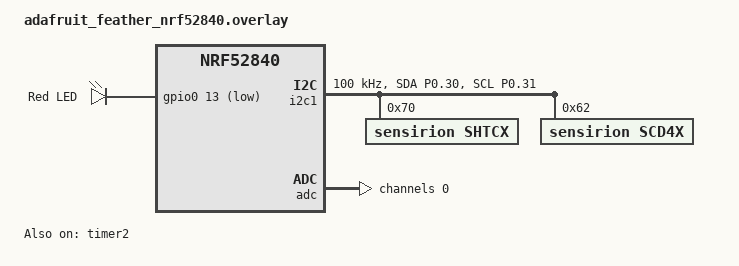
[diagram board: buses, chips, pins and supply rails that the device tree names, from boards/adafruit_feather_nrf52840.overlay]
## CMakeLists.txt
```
#
# Copyright (c) 2020 Nordic Semiconductor ASA
#
# SPDX-License-Identifier: LicenseRef-Nordic-5-Clause
#

cmake_minimum_required(VERSION 3.20.0)

find_package(Zephyr REQUIRED HINTS $ENV{ZEPHYR_BASE})

if(NOT CONFIG_MCUBOOT_IMGTOOL_SIGN_VERSION MATCHES "^([0-9]+)\\.([0-9]+)\\.([0-9]+)$")
  message(FATAL_ERROR "OTA version must be major.minor.patch without a build suffix")
endif()
if(CMAKE_MATCH_1 GREATER 255 OR CMAKE_MATCH_2 GREATER 255 OR CMAKE_MATCH_3 GREATER 255)
  message(FATAL_ERROR "OTA version components must be 0..255 for the Zigbee add-on generator")
endif()
math(EXPR SCHNEGGI_OTA_FILE_VERSION
  "(${CMAKE_MATCH_1} << 24) | (${CMAKE_MATCH_2} << 16) | ${CMAKE_MATCH_3}"
  OUTPUT_FORMAT HEXADECIMAL)

project("Schneggi Sensor")
target_compile_definitions(app PRIVATE SCHNEGGI_OTA_FILE_VERSION=${SCHNEGGI_OTA_FILE_VERSION})

target_sources(app PRIVATE
	src/app_environment.c
	src/app_shtc3.c
	src/app_network.c
	src/app_ota.c
	src/app_ota_storage.c
	src/app_ota_transfer.c
	src/app_reboot.c
	src/app_scheduler.c
	src/app_measurement_logic.c
	src/app_zcl_report.c
	src/co2_zcl_logic.c
	src/main.c
	src/rejoin_logic.c
	src/zigbee_signal_logic.c
	src/zboss_mem_globals.c
	src/zcl/zb_zcl_concentration_measurement.c
)

target_sources_ifdef(CONFIG_ADC app PRIVATE src/app_battery.c)
target_sources_ifdef(CONFIG_SCD4X app PRIVATE src/app_scd4x.c)

target_include_directories(app PRIVATE include)

# Nordic's prebuilt library has plain ELF weak defaults for these configurable
# globals. Resolve Schneggi's strong medium-sized tables outside LTO as well.
if(CONFIG_LTO)
  set_source_files_properties(src/zboss_mem_globals.c PROPERTIES COMPILE_OPTIONS -fno-lto)
endif()
# NORDIC SDK APP END
```

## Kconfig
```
source "Kconfig.zephyr"

config APP_REJOIN_INTERVAL_MAX_SECONDS
  int "Maximum network rejoin retry interval in seconds"
  range 900 3600
  default 900

config SENSOR_UPDATE_INTERVAL_MINUTES
  int "Sensor update interval in minutes"
  range 1 1440
  default 5

config APP_SCD4X_ALTITUDE
  int "SCD40 altitude compensation in metres"
  depends on SCD4X
  range 0 3000
  default 574

config BATTERY_UPDATE_INTERVAL_HOURS
  int "Battery update interval in hours"
  range 1 720
  default 4

config ZIGBEE_LONG_POLL_INTERVAL_MS
  int "Zigbee long poll interval in milliseconds"
  range 30000 600000
  default 120000

config ZIGBEE_KEEPALIVE_TIMEOUT_MS
  int "Zigbee keepalive timeout in milliseconds"
  range 60000 1800000
  default 600000
```

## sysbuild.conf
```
SB_CONFIG_BOOTLOADER_MCUBOOT=y
SB_CONFIG_MCUBOOT_MODE_SWAP_USING_MOVE=y
SB_CONFIG_BOOT_SIGNATURE_TYPE_ECDSA_P256=y
SB_CONFIG_DFU_MULTI_IMAGE_PACKAGE_BUILD=y
SB_CONFIG_DFU_MULTI_IMAGE_PACKAGE_APP=y
# Preserve the deployed OTA layout while migrating the SDK.
SB_CONFIG_PARTITION_MANAGER=y
```

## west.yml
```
manifest:
  remotes:
    - name: ncs
      url-base: https://github.com/nrfconnect
  projects:
    - name: nrf
      repo-path: sdk-nrf
      remote: ncs
      revision: b20f8619ba9a5530f8c34b0a130d829947cfe55d # v3.4.1
      import: true
    - name: ncs-zigbee
      remote: ncs
      revision: bc7863e99cbbe121d8755bc49586e977cd46d032 # v1.4.0
      import: true
  self:
    path: project
```

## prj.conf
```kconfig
#
# Copyright (c) 2020 Nordic Semiconductor ASA
#
# SPDX-License-Identifier: LicenseRef-Nordic-5-Clause
#

CONFIG_UART_INTERRUPT_DRIVEN=n
CONFIG_PWM=y

# Logging
CONFIG_LOG=y
CONFIG_USE_SEGGER_RTT=y
CONFIG_RTT_CONSOLE=y
CONFIG_SENSOR_LOG_LEVEL_DBG=y

CONFIG_HEAP_MEM_POOL_SIZE=2048
CONFIG_MAIN_THREAD_PRIORITY=7

CONFIG_ZIGBEE=y
CONFIG_ZIGBEE_APP_UTILS=y
CONFIG_ZIGBEE_ROLE_END_DEVICE=y
CONFIG_ZIGBEE_CHANNEL_SELECTION_MODE_MULTI=y
CONFIG_ZBOSS_TRACE_LOG_LEVEL_INF=y

# Enable DK LED and Buttons library
CONFIG_DK_LIBRARY=n

# This example requires more workqueue stack
CONFIG_SYSTEM_WORKQUEUE_STACK_SIZE=2048

# Enable nRF ECB driver
CONFIG_CRYPTO=y
CONFIG_CRYPTO_NRF_ECB=y
CONFIG_CRYPTO_INIT_PRIORITY=80

# Networking
CONFIG_NET_IPV6=n
CONFIG_NET_IP_ADDR_CHECK=n

CONFIG_I2C=y
CONFIG_SENSOR=y
CONFIG_SHTCX=y
CONFIG_SPI=n

CONFIG_ADC=y
```

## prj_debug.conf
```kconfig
#
# Copyright (c) 2020 Nordic Semiconductor ASA
#
# SPDX-License-Identifier: LicenseRef-Nordic-5-Clause
#

CONFIG_SENSOR_UPDATE_INTERVAL_MINUTES=1
CONFIG_ZIGBEE_LONG_POLL_INTERVAL_MS=60000
CONFIG_ZIGBEE_KEEPALIVE_TIMEOUT_MS=300000

# Logging
CONFIG_LOG=y
CONFIG_LOG_MODE_IMMEDIATE=y
CONFIG_USE_SEGGER_RTT=y
CONFIG_SERIAL=n
CONFIG_CONSOLE=n
CONFIG_UART_CONSOLE=n

CONFIG_ZIGBEE_APP_UTILS_LOG_LEVEL_DBG=y
CONFIG_ZBOSS_TRACE_LOG_LEVEL_DBG=n
CONFIG_ZBOSS_OSIF_LOG_LEVEL_DBG=n

CONFIG_HEAP_MEM_POOL_SIZE=2048
CONFIG_MAIN_THREAD_PRIORITY=7

# ZigBee
CONFIG_ZIGBEE_ADD_ON=y
CONFIG_ZIGBEE_PRO_CORE_BEHAVIOR_R22=y
# Schneggi owns durable OTA checkpoints in its reserved flash page.
CONFIG_ZIGBEE_FOTA_DOWNLOAD_RESUME=n
CONFIG_ZIGBEE_FOTA_FILE_VERSION_STACK=n
# Zigbee OTA / MCUboot
CONFIG_ZIGBEE_FOTA=y
CONFIG_ZIGBEE_FOTA_ENDPOINT=5
CONFIG_ZIGBEE_FOTA_MANUFACTURER_ID=0xFFF1
CONFIG_ZIGBEE_FOTA_HW_VERSION=1
# NCS periodic OTA queries omit hardware version; compatibility uses image type.
CONFIG_ENABLE_ZIGBEE_FOTA_MIN_HW_VERSION=n
CONFIG_ENABLE_ZIGBEE_FOTA_MAX_HW_VERSION=n
CONFIG_ZIGBEE_FOTA_PROGRESS_EVT=y
CONFIG_MCUBOOT_IMGTOOL_SIGN_VERSION="2.0.6"
CONFIG_IMG_MANAGER=y
CONFIG_STREAM_FLASH=y
CONFIG_DFU_TARGET_MCUBOOT=y
CONFIG_IMG_ERASE_PROGRESSIVELY=y
CONFIG_WATCHDOG=y
CONFIG_ZIGBEE_FOTA_IMAGE_TYPE=0x8102
CONFIG_ZIGBEE_FOTA_COMMENT="schneggi-debug-co2"
CONFIG_ZIGBEE_APP_UTILS=y
CONFIG_ZIGBEE_ROLE_END_DEVICE=y
CONFIG_ZIGBEE_CHANNEL_SELECTION_MODE_MULTI=y

# Sensor
CONFIG_SPI=n
CONFIG_PWM=n
CONFIG_ADC=n
CONFIG_I2C=y
CONFIG_SENSOR=y
CONFIG_SHTCX=y
CONFIG_SCD4X=y

# This example requires more workqueue stack
CONFIG_SYSTEM_WORKQUEUE_STACK_SIZE=2048

# Enable API for powering down unused RAM parts
CONFIG_RAM_POWER_DOWN_LIBRARY=y


# Networking
CONFIG_NET_IPV6=n
CONFIG_NET_IP_ADDR_CHECK=n

CONFIG_PM_DEVICE=y
```

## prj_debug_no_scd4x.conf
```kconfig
#
# Copyright (c) 2020 Nordic Semiconductor ASA
#
# SPDX-License-Identifier: LicenseRef-Nordic-5-Clause
#

CONFIG_SENSOR_UPDATE_INTERVAL_MINUTES=1
CONFIG_BATTERY_UPDATE_INTERVAL_HOURS=1
CONFIG_ZIGBEE_LONG_POLL_INTERVAL_MS=60000
CONFIG_ZIGBEE_KEEPALIVE_TIMEOUT_MS=300000

# Logging
CONFIG_LOG=y
CONFIG_LOG_MODE_IMMEDIATE=y
CONFIG_USE_SEGGER_RTT=y
CONFIG_SERIAL=n
CONFIG_CONSOLE=n
CONFIG_UART_CONSOLE=n

CONFIG_ZIGBEE_APP_UTILS_LOG_LEVEL_DBG=y
CONFIG_ZBOSS_TRACE_LOG_LEVEL_DBG=n
CONFIG_ZBOSS_OSIF_LOG_LEVEL_DBG=n

CONFIG_HEAP_MEM_POOL_SIZE=2048
CONFIG_MAIN_THREAD_PRIORITY=7

# ZigBee
CONFIG_ZIGBEE_ADD_ON=y
CONFIG_ZIGBEE_PRO_CORE_BEHAVIOR_R22=y
# Schneggi owns durable OTA checkpoints in its reserved flash page.
CONFIG_ZIGBEE_FOTA_DOWNLOAD_RESUME=n
CONFIG_ZIGBEE_FOTA_FILE_VERSION_STACK=n
# Zigbee OTA / MCUboot
CONFIG_ZIGBEE_FOTA=y
CONFIG_ZIGBEE_FOTA_ENDPOINT=5
CONFIG_ZIGBEE_FOTA_MANUFACTURER_ID=0xFFF1
CONFIG_ZIGBEE_FOTA_HW_VERSION=1
# NCS periodic OTA queries omit hardware version; compatibility uses image type.
CONFIG_ENABLE_ZIGBEE_FOTA_MIN_HW_VERSION=n
CONFIG_ENABLE_ZIGBEE_FOTA_MAX_HW_VERSION=n
CONFIG_ZIGBEE_FOTA_PROGRESS_EVT=y
CONFIG_MCUBOOT_IMGTOOL_SIGN_VERSION="1.0.7"
CONFIG_IMG_MANAGER=y
CONFIG_STREAM_FLASH=y
CONFIG_DFU_TARGET_MCUBOOT=y
CONFIG_IMG_ERASE_PROGRESSIVELY=y
CONFIG_WATCHDOG=y
CONFIG_ZIGBEE_FOTA_IMAGE_TYPE=0x8101
CONFIG_ZIGBEE_FOTA_COMMENT="schneggi-debug"
CONFIG_ZIGBEE_APP_UTILS=y
CONFIG_ZIGBEE_ROLE_END_DEVICE=y
CONFIG_ZIGBEE_CHANNEL_SELECTION_MODE_MULTI=y

# Sensor
CONFIG_SPI=n
CONFIG_PWM=n
CONFIG_ADC=y
CONFIG_I2C=y
CONFIG_SENSOR=y
CONFIG_SHTCX=y

# This example requires more workqueue stack
CONFIG_SYSTEM_WORKQUEUE_STACK_SIZE=2048

# Enable API for powering down unused RAM parts
CONFIG_RAM_POWER_DOWN_LIBRARY=y


# Networking
CONFIG_NET_IPV6=n
CONFIG_NET_IP_ADDR_CHECK=n

CONFIG_PM_DEVICE=y
CONFIG_PM_DEVICE_RUNTIME=y
CONFIG_APP_REJOIN_INTERVAL_MAX_SECONDS=3600
```

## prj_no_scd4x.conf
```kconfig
# Build fragment for hardware variants without the SCD4X CO2 sensor.
CONFIG_APP_ENABLE_SCD4X=n
```

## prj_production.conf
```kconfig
#
# Copyright (c) 2020 Nordic Semiconductor ASA
#
# SPDX-License-Identifier: LicenseRef-Nordic-5-Clause
#

CONFIG_SENSOR_UPDATE_INTERVAL_MINUTES=10
CONFIG_ZIGBEE_LONG_POLL_INTERVAL_MS=120000
CONFIG_ZIGBEE_KEEPALIVE_TIMEOUT_MS=600000

# Logging
CONFIG_LOG=n
CONFIG_USE_SEGGER_RTT=n
CONFIG_RTT_CONSOLE=n
CONFIG_SERIAL=n
CONFIG_CONSOLE=n
CONFIG_UART_CONSOLE=n


CONFIG_HEAP_MEM_POOL_SIZE=2048
CONFIG_MAIN_THREAD_PRIORITY=7

# ZigBee
CONFIG_ZIGBEE_ADD_ON=y
CONFIG_ZIGBEE_PRO_CORE_BEHAVIOR_R22=y
# Schneggi owns durable OTA checkpoints in its reserved flash page.
CONFIG_ZIGBEE_FOTA_DOWNLOAD_RESUME=n
CONFIG_ZIGBEE_FOTA_FILE_VERSION_STACK=n
# Zigbee OTA / MCUboot
CONFIG_ZIGBEE_FOTA=y
CONFIG_ZIGBEE_FOTA_ENDPOINT=5
CONFIG_ZIGBEE_FOTA_MANUFACTURER_ID=0xFFF1
CONFIG_ZIGBEE_FOTA_HW_VERSION=1
# NCS periodic OTA queries omit hardware version; compatibility uses image type.
CONFIG_ENABLE_ZIGBEE_FOTA_MIN_HW_VERSION=n
CONFIG_ENABLE_ZIGBEE_FOTA_MAX_HW_VERSION=n
CONFIG_ZIGBEE_FOTA_PROGRESS_EVT=y
CONFIG_MCUBOOT_IMGTOOL_SIGN_VERSION="2.0.6"
CONFIG_IMG_MANAGER=y
CONFIG_STREAM_FLASH=y
CONFIG_DFU_TARGET_MCUBOOT=y
CONFIG_IMG_ERASE_PROGRESSIVELY=y
CONFIG_WATCHDOG=y
CONFIG_ZIGBEE_FOTA_IMAGE_TYPE=0x0102
CONFIG_ZIGBEE_FOTA_COMMENT="schneggi-co2"
CONFIG_ZIGBEE_APP_UTILS=y
CONFIG_ZIGBEE_ROLE_END_DEVICE=y
CONFIG_ZIGBEE_CHANNEL_SELECTION_MODE_MULTI=y

# Sensor
CONFIG_SPI=n
CONFIG_PWM=n
CONFIG_ADC=n
CONFIG_I2C=y
CONFIG_SENSOR=y
CONFIG_SHTCX=y
CONFIG_SCD4X=y

# This example requires more workqueue stack
CONFIG_SYSTEM_WORKQUEUE_STACK_SIZE=2048

# Enable API for powering down unused RAM parts
CONFIG_RAM_POWER_DOWN_LIBRARY=y


# Networking
CONFIG_NET_IPV6=n
CONFIG_NET_IP_ADDR_CHECK=n

CONFIG_PM_DEVICE=y
```

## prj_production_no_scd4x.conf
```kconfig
#
# Copyright (c) 2020 Nordic Semiconductor ASA
#
# SPDX-License-Identifier: LicenseRef-Nordic-5-Clause
#

CONFIG_SENSOR_UPDATE_INTERVAL_MINUTES=10
CONFIG_BATTERY_UPDATE_INTERVAL_HOURS=24
CONFIG_ZIGBEE_LONG_POLL_INTERVAL_MS=120000
CONFIG_ZIGBEE_KEEPALIVE_TIMEOUT_MS=600000

# Logging
CONFIG_LOG=n
CONFIG_USE_SEGGER_RTT=n
CONFIG_RTT_CONSOLE=n
CONFIG_SERIAL=n
CONFIG_CONSOLE=n
CONFIG_UART_CONSOLE=n


CONFIG_HEAP_MEM_POOL_SIZE=2048
CONFIG_MAIN_THREAD_PRIORITY=7

# ZigBee
CONFIG_ZIGBEE_ADD_ON=y
CONFIG_ZIGBEE_PRO_CORE_BEHAVIOR_R22=y
# Schneggi owns durable OTA checkpoints in its reserved flash page.
CONFIG_ZIGBEE_FOTA_DOWNLOAD_RESUME=n
CONFIG_ZIGBEE_FOTA_FILE_VERSION_STACK=n
# Zigbee OTA / MCUboot
CONFIG_ZIGBEE_FOTA=y
CONFIG_ZIGBEE_FOTA_ENDPOINT=5
CONFIG_ZIGBEE_FOTA_MANUFACTURER_ID=0xFFF1
CONFIG_ZIGBEE_FOTA_HW_VERSION=1
# NCS periodic OTA queries omit hardware version; compatibility uses image type.
CONFIG_ENABLE_ZIGBEE_FOTA_MIN_HW_VERSION=n
CONFIG_ENABLE_ZIGBEE_FOTA_MAX_HW_VERSION=n
CONFIG_ZIGBEE_FOTA_PROGRESS_EVT=y
CONFIG_MCUBOOT_IMGTOOL_SIGN_VERSION="1.0.7"
CONFIG_IMG_MANAGER=y
CONFIG_STREAM_FLASH=y
CONFIG_DFU_TARGET_MCUBOOT=y
CONFIG_IMG_ERASE_PROGRESSIVELY=y
CONFIG_WATCHDOG=y
CONFIG_ZIGBEE_FOTA_IMAGE_TYPE=0x0101
CONFIG_ZIGBEE_FOTA_COMMENT="schneggi"
CONFIG_ZIGBEE_APP_UTILS=y
CONFIG_ZIGBEE_ROLE_END_DEVICE=y
CONFIG_ZIGBEE_CHANNEL_SELECTION_MODE_MULTI=y

# Sensor
CONFIG_SPI=n
CONFIG_PWM=n
CONFIG_ADC=y
CONFIG_I2C=y
CONFIG_SENSOR=y
CONFIG_SHTCX=y

# This example requires more workqueue stack
CONFIG_SYSTEM_WORKQUEUE_STACK_SIZE=2048

# Enable API for powering down unused RAM parts
CONFIG_RAM_POWER_DOWN_LIBRARY=y


# Networking
CONFIG_NET_IPV6=n
CONFIG_NET_IP_ADDR_CHECK=n

CONFIG_PM_DEVICE=y
CONFIG_PM_DEVICE_RUNTIME=y
CONFIG_APP_REJOIN_INTERVAL_MAX_SECONDS=3600
```

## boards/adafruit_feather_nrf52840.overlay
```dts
/ {

	vbatt {
		compatible = "voltage-divider";
		/* The application owns ADC sampling and power-gpios. Prevent the
		 * generic sensor driver from also configuring/enabling the divider.
		 */
		status = "disabled";
		io-channels = <&adc 0>;
		output-ohms = <180000>;
		full-ohms = <(1500000 + 180000)>;
		power-gpios = <&gpio1 9 0>; //P1.09
	};

	leds {
		compatible = "gpio-leds";
		led: led {
			gpios = <&gpio0 13 GPIO_ACTIVE_LOW>;
			label = "Red LED";
		};
	};

	chosen {
		ncs,zigbee-timer = &timer2;
	};

	aliases {
		led = &led;
	};

};

&timer2 {
	status = "okay";
};

&i2c1 {
	compatible = "nordic,nrf-twim";
	status = "okay";
	pinctrl-0 = <&i2c1_default>;
	pinctrl-1 = <&i2c1_sleep>;
	pinctrl-names = "default", "sleep";
	clock-frequency = <I2C_BITRATE_STANDARD>;
	shtcx@70 {
		compatible = "sensirion,shtcx";
		reg = <0x70>;
		measure-mode = "normal"; // low power mode has reduced accuracy
	};
	
	scd4x@62 {
		status = "okay";
		compatible = "sensirion,scd4x";
		reg = <0x62>;
		model = "scd40";
		altitude = <574>; //Innsbruck
		measure-mode = "normal";
		temperature-offset = <0>;
		auto-calibration;
	};
};

&adc {
	#address-cells = <1>;
	#size-cells = <0>;

	channel@0 {
		reg = <0>;
		zephyr,gain = "ADC_GAIN_1";
		zephyr,reference = "ADC_REF_INTERNAL";
		zephyr,acquisition-time = <ADC_ACQ_TIME_DEFAULT>;
		zephyr,input-positive = <NRF_SAADC_AIN3>; // P0.03
		zephyr,resolution = <12>;
		zephyr,oversampling = <4>;
	};
};

&pinctrl {
	i2c1_default: i2c1_default {
		group1 {
			psels = <NRF_PSEL(TWIM_SDA, 0, 30)>,
					<NRF_PSEL(TWIM_SCL, 0, 31)>;
			bias-pull-up;
		};
	};
	i2c1_sleep: i2c1_sleep {
		group1 {
			psels = <NRF_PSEL(TWIM_SDA, 0, 30)>,
					<NRF_PSEL(TWIM_SCL, 0, 31)>;
			low-power-enable;
		};
	};
};


// Disable for power optimization
&uart0 {
	status = "disabled";
};

&i2c0 {
	status = "disabled";
};

&spi1 {
	status = "disabled";
};

&qspi {
	status = "disabled";
};

&gd25q16 {
	status = "disabled";
};

&led0 {
	status = "disabled";
};

&led1 {
	status = "disabled";
};
```

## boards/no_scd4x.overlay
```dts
&i2c1 {
	scd4x@62 {
		status = "disabled";
	};
};
```

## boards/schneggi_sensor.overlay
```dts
/ {

	vbatt {
		compatible = "voltage-divider";
		/* The application owns ADC sampling and power-gpios. Prevent the
		 * generic sensor driver from also configuring/enabling the divider.
		 */
		status = "disabled";
		io-channels = <&adc 0>;
		output-ohms = <180000>;
		full-ohms = <(1500000 + 180000)>;
		power-gpios = <&gpio1 9 0>; //P1.09
	};

	leds {
		compatible = "gpio-leds";
		led: led {
			gpios = <&gpio0 13 GPIO_ACTIVE_LOW>;
			label = "Red LED";
		};
	};

	chosen {
		ncs,zigbee-timer = &timer2;
	};

	aliases {
		led = &led;
	};

};

&timer2 {
	status = "okay";
};

&i2c1 {
	compatible = "nordic,nrf-twim";
	status = "okay";
	pinctrl-0 = <&i2c1_default>;
	pinctrl-1 = <&i2c1_sleep>;
	pinctrl-names = "default", "sleep";
	clock-frequency = <I2C_BITRATE_STANDARD>;
	shtcx@70 {
		compatible = "sensirion,shtcx";
		reg = <0x70>;
		measure-mode = "normal"; // low power mode has reduced accuracy
	};
	
	scd4x@62 {
		status = "okay";
		compatible = "sensirion,scd40";
		reg = <0x62>;
	};
};

&adc {
	#address-cells = <1>;
	#size-cells = <0>;

	channel@0 {
		reg = <0>;
		zephyr,gain = "ADC_GAIN_1";
		zephyr,reference = "ADC_REF_INTERNAL";
		zephyr,acquisition-time = <ADC_ACQ_TIME_DEFAULT>;
		zephyr,input-positive = <NRF_SAADC_AIN3>; // P0.03
		zephyr,resolution = <12>;
		zephyr,oversampling = <4>;
	};
};

&pinctrl {
	i2c1_default: i2c1_default {
		group1 {
			psels = <NRF_PSEL(TWIM_SDA, 0, 30)>,
					<NRF_PSEL(TWIM_SCL, 0, 31)>;
			bias-pull-up;
		};
	};
	i2c1_sleep: i2c1_sleep {
		group1 {
			psels = <NRF_PSEL(TWIM_SDA, 0, 30)>,
					<NRF_PSEL(TWIM_SCL, 0, 31)>;
			low-power-enable;
		};
	};
};


// Disable for power optimization
&uart0 {
	status = "disabled";
};

&i2c0 {
	status = "disabled";
};

&spi1 {
	status = "disabled";
};

&qspi {
	status = "disabled";
};

&gd25q16 {
	status = "disabled";
};

&led0 {
	status = "disabled";
};

&led1 {
	status = "disabled";
};
```

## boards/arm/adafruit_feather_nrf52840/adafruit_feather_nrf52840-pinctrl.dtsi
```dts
/*
 * Copyright (c) 2022 Nordic Semiconductor
 * SPDX-License-Identifier: Apache-2.0
 */

&pinctrl {
	uart0_default: uart0_default {
		group1 {
			psels = <NRF_PSEL(UART_TX, 0, 25)>,
				<NRF_PSEL(UART_RX, 0, 24)>;
		};
	};

	uart0_sleep: uart0_sleep {
		group1 {
			psels = <NRF_PSEL(UART_TX, 0, 25)>,
				<NRF_PSEL(UART_RX, 0, 24)>;
			low-power-enable;
		};
	};

	i2c0_default: i2c0_default {
		group1 {
			psels = <NRF_PSEL(TWIM_SDA, 0, 30)>,
				<NRF_PSEL(TWIM_SCL, 0, 31)>;
		};
	};

	i2c0_sleep: i2c0_sleep {
		group1 {
			psels = <NRF_PSEL(TWIM_SDA, 0, 30)>,
				<NRF_PSEL(TWIM_SCL, 0, 31)>;
			low-power-enable;
		};
	};

	spi1_default: spi1_default {
		group1 {
			psels = <NRF_PSEL(SPIM_SCK, 0, 14)>,
				<NRF_PSEL(SPIM_MOSI, 0, 13)>,
				<NRF_PSEL(SPIM_MISO, 0, 15)>;
		};
	};

	spi1_sleep: spi1_sleep {
		group1 {
			psels = <NRF_PSEL(SPIM_SCK, 0, 14)>,
				<NRF_PSEL(SPIM_MOSI, 0, 13)>,
				<NRF_PSEL(SPIM_MISO, 0, 15)>;
			low-power-enable;
		};
	};

	qspi_default: qspi_default {
		group1 {
			psels = <NRF_PSEL(QSPI_SCK, 0, 19)>,
				<NRF_PSEL(QSPI_IO0, 0, 17)>,
				<NRF_PSEL(QSPI_IO1, 0, 22)>,
				<NRF_PSEL(QSPI_IO2, 0, 23)>,
				<NRF_PSEL(QSPI_IO3, 0, 21)>,
				<NRF_PSEL(QSPI_CSN, 0, 20)>;
		};
	};

	qspi_sleep: qspi_sleep {
		group1 {
			psels = <NRF_PSEL(QSPI_SCK, 0, 19)>,
				<NRF_PSEL(QSPI_IO0, 0, 17)>,
				<NRF_PSEL(QSPI_IO1, 0, 22)>,
				<NRF_PSEL(QSPI_IO2, 0, 23)>,
				<NRF_PSEL(QSPI_IO3, 0, 21)>,
				<NRF_PSEL(QSPI_CSN, 0, 20)>;
			low-power-enable;
		};
	};

};
```

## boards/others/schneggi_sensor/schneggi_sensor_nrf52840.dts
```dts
/*
 * Copyright (c) 2020 Tobias Svehagen
 *
 * SPDX-License-Identifier: Apache-2.0
 */

/dts-v1/;
#include <nordic/nrf52840_qiaa.dtsi>
#include "feather_connector.dtsi"
#include "schneggi_sensor-pinctrl.dtsi"
#include <zephyr/dt-bindings/input/input-event-codes.h>
#include <zephyr/dt-bindings/regulator/nrf5x.h>

/ {
	model = "Schneggi Sensor";
	compatible = "schneggi,sensor";

	chosen {
		zephyr,console = &uart0;
		zephyr,shell-uart = &uart0;
		zephyr,uart-mcumgr = &uart0;
		zephyr,bt-mon-uart = &uart0;
		zephyr,bt-c2h-uart = &uart0;
		zephyr,sram = &sram0;
		zephyr,flash = &flash0;
		zephyr,code-partition = &slot0_partition;
		zephyr,ieee802154 = &ieee802154;
	};

	leds {
		compatible = "gpio-leds";
		led0: led_0 {
			gpios = <&gpio1 15 0>;
			label = "Red LED";
		};
		led1: led_1 {
			gpios = <&gpio1 10 0>;
			label = "Blue LED";
		};
	};

	buttons {
		compatible = "gpio-keys";
		button0: button_0 {
			gpios = <&gpio1 2 (GPIO_PULL_UP | GPIO_ACTIVE_LOW)>;
			label = "Push button switch";
			zephyr,code = <INPUT_KEY_0>;
		};
	};

	/* These aliases are provided for compatibility with samples */
	aliases {
		led0 = &led0;
		led1 = &led1;
		sw0 = &button0;
		watchdog0 = &wdt0;
		spi-flash0 = &gd25q16;
	};
};

&adc {
	status = "okay";
};

&reg1 {
	regulator-initial-mode = <NRF5X_REG_MODE_DCDC>;
};

&uicr {
	gpio-as-nreset;
};

&gpiote {
	status = "okay";
};

&gpio0 {
	status = "okay";
};

&gpio1 {
	status = "okay";
};

&uart0 {
	compatible = "nordic,nrf-uart";
	current-speed = <115200>;
	status = "okay";
	pinctrl-0 = <&uart0_default>;
	pinctrl-1 = <&uart0_sleep>;
	pinctrl-names = "default", "sleep";
};

&i2c0 {
	compatible = "nordic,nrf-twi";
	status = "okay";
	pinctrl-0 = <&i2c0_default>;
	pinctrl-1 = <&i2c0_sleep>;
	pinctrl-names = "default", "sleep";
};

&spi1 {
	compatible = "nordic,nrf-spi";
	status = "okay";
	pinctrl-0 = <&spi1_default>;
	pinctrl-1 = <&spi1_sleep>;
	pinctrl-names = "default", "sleep";
};

&qspi {
	status = "okay";
	pinctrl-0 = <&qspi_default>;
	pinctrl-1 = <&qspi_sleep>;
	pinctrl-names = "default", "sleep";
	gd25q16: gd25q16@0 {
		compatible = "nordic,qspi-nor";
		reg = <0>;
		writeoc = "pp4o";
		readoc = "read4io";
		sck-frequency = <16000000>;
		jedec-id = [c8 40 15];
		size = <16777216>;
		has-dpd;
		t-enter-dpd = <20000>;
		t-exit-dpd = <20000>;
		quad-enable-requirements = "S2B1v1";
	};
};

&ieee802154 {
	status = "okay";
};

&flash0 {

	partitions {
		compatible = "fixed-partitions";
		#address-cells = <1>;
		#size-cells = <1>;

		boot_partition: partition@0 {
			label = "mcuboot";
			reg = <0x00000000 0x0000C000>;
		};
		slot0_partition: partition@c000 {
			label = "image-0";
			reg = <0x0000C000 0x00067000>;
		};
		slot1_partition: partition@73000 {
			label = "image-1";
			reg = <0x00073000 0x00067000>;
		};
		scratch_partition: partition@da000 {
			label = "image-scratch";
			reg = <0x000da000 0x0001e000>;
		};

		/*
		 * The flash starting at 0x000f8000 and ending at
		 * 0x000fffff is reserved for use by the application.
		 */

		/* Storage partition will be used by FCB/NFFS/NVS if enabled. */
		storage_partition: partition@f8000 {
			label = "storage";
			reg = <0x000f8000 0x00008000>;
		};
	};
};

zephyr_udc0: &usbd {
	compatible = "nordic,nrf-usbd";
	status = "okay";
};
```

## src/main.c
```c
#include <inttypes.h>
#include <soc.h>
#include <zephyr/types.h>
#include <zephyr/kernel.h>
#include <zephyr/device.h>
#include <zephyr/drivers/sensor.h>
#include <zephyr/drivers/adc.h>
#include <zephyr/drivers/gpio.h>
#include <zephyr/pm/device_runtime.h>
#include "app_environment.h"
#include "app_scd4x.h"
#include "app_battery.h"
#include "app_ota.h"
#include "app_reboot.h"
#include "app_scheduler.h"
#include <zephyr/logging/log.h>
#include <zephyr/sys/util.h>
#include <ram_pwrdn.h>

#include <zboss_api.h>
#include <zboss_api_addons.h>
#include <zigbee/zigbee_app_utils.h>
#include <zigbee/zigbee_error_handler.h>
#include <zb_nrf_platform.h>
#include <osif/zb_macll.h>
#include "nrf_802154.h"
#include "zb_schneggi_sensor.h"

#include <zcl/zb_zcl_power_config.h>
#include <zcl/zb_zcl_temp_measurement_addons.h>
#include <zcl/zb_zcl_basic_addons.h>
#include "zcl/zb_zcl_concentration_measurement.h"
#include "app_zcl_report.h"
#include "co2_zcl_logic.h"
#include "app_network.h"
#include "zigbee_signal_logic.h"

#define APP_HAS_SCD4X DT_HAS_COMPAT_STATUS_OKAY(sensirion_scd40)

// Sleep
static const uint32_t SLEEP_INTERVAL_SECONDS = (uint32_t)CONFIG_SENSOR_UPDATE_INTERVAL_MINUTES * 60U;				   // HA minimum = 30s
#if !APP_HAS_SCD4X
static const uint32_t BATTERY_REPORT_INTERVAL_SECONDS = (uint32_t)CONFIG_BATTERY_UPDATE_INTERVAL_HOURS * 60U * 60U; // HA minimum = 3600s
static const uint32_t BATTERY_SLEEP_CYCLES =
	(BATTERY_REPORT_INTERVAL_SECONDS + SLEEP_INTERVAL_SECONDS - 1U) / SLEEP_INTERVAL_SECONDS;
#endif
static const uint32_t SENSOR_REFRESH_INTERVAL_SECONDS = 24U * 60U * 60U;
static const uint32_t SENSOR_REFRESH_CYCLES =
	(SENSOR_REFRESH_INTERVAL_SECONDS + SLEEP_INTERVAL_SECONDS - 1U) / SLEEP_INTERVAL_SECONDS;

#if defined(CONFIG_ZIGBEE_KEEPALIVE_TIMEOUT_MS)
#define APP_ZIGBEE_KEEPALIVE_TIMEOUT_MS ((uint32_t)CONFIG_ZIGBEE_KEEPALIVE_TIMEOUT_MS)
#else
#define APP_ZIGBEE_KEEPALIVE_TIMEOUT_MS (600000U)
#endif

#if defined(ED_AGING_TIMEOUT_64MIN)
#define APP_ZIGBEE_ED_TIMEOUT_VALUE ED_AGING_TIMEOUT_64MIN
#define APP_ZIGBEE_ED_TIMEOUT_DESC "64min"
#else
#define APP_ZIGBEE_ED_TIMEOUT_VALUE ED_AGING_TIMEOUT_32MIN
#define APP_ZIGBEE_ED_TIMEOUT_DESC "32min"
#endif

BUILD_ASSERT(CONFIG_SENSOR_UPDATE_INTERVAL_MINUTES > 0, "CONFIG_SENSOR_UPDATE_INTERVAL_MINUTES must be greater than zero");
#if !APP_HAS_SCD4X
BUILD_ASSERT(CONFIG_BATTERY_UPDATE_INTERVAL_HOURS > 0, "CONFIG_BATTERY_UPDATE_INTERVAL_HOURS must be greater than zero");
BUILD_ASSERT((uint32_t)CONFIG_BATTERY_UPDATE_INTERVAL_HOURS * 60U * 60U >=
					 (uint32_t)CONFIG_SENSOR_UPDATE_INTERVAL_MINUTES * 60U,
			 "CONFIG_BATTERY_UPDATE_INTERVAL_HOURS must not be shorter than CONFIG_SENSOR_UPDATE_INTERVAL_MINUTES");
#endif
BUILD_ASSERT(APP_ZIGBEE_KEEPALIVE_TIMEOUT_MS >= APP_ZIGBEE_LONG_POLL_INTERVAL_MS,
			 "CONFIG_ZIGBEE_KEEPALIVE_TIMEOUT_MS must be >= CONFIG_ZIGBEE_LONG_POLL_INTERVAL_MS");

// ZigBee
#define SCHNEGGI_ENDPOINT 0x01
#define SCHNEGGI_SCD4X_TEMPERATURE_ENDPOINT 0x02
#define SCHNEGGI_BASIC_MANUF_NAME "FuZZi"
#define SCHNEGGI_BASIC_MODEL_ID "Schneggi Sensor"
#define SCHNEGGI_BASIC_DATE_CODE "20240810"

typedef struct
{
	zb_int16_t measure_value;
	zb_int16_t min_measure_value;
	zb_int16_t max_measure_value;
} zb_zcl_rel_humidity_measurement_attr_t;

typedef struct
{
	zb_uint32_t measure_value;
	zb_uint32_t min_measure_value;
	zb_uint32_t max_measure_value;
	zb_uint32_t tolerance;
} zb_zcl_concentration_measurement_attrs_t;

#if !APP_HAS_SCD4X
typedef struct
{
	zb_uint8_t battery_voltage;
	zb_uint8_t battery_size;
	zb_uint8_t battery_quantity;
	zb_uint8_t battery_rated_voltage;
	zb_uint8_t battery_alarm_mask;
	zb_uint8_t battery_voltage_min_threshold;
	zb_uint8_t battery_percentage_remaining;
	zb_uint8_t battery_voltage_threshold1;
	zb_uint8_t battery_voltage_threshold2;
	zb_uint8_t battery_voltage_threshold3;
	zb_uint8_t battery_percentage_min_threshold;
	zb_uint8_t battery_percentage_threshold1;
	zb_uint8_t battery_percentage_threshold2;
	zb_uint8_t battery_percentage_threshold3;
	zb_uint32_t battery_alarm_state;

} zb_zcl_power_config_attr_t;
#endif

typedef struct
{
	zb_zcl_basic_attrs_ext_t basic_attr;
	zb_zcl_identify_attrs_t identify_attr;
	zb_zcl_temp_measurement_attrs_t temp_measure_attrs;
	zb_zcl_rel_humidity_measurement_attr_t humidity_measure_attrs;
	zb_zcl_concentration_measurement_attrs_t concentration_measure_attrs;
#if APP_HAS_SCD4X
	zb_zcl_temp_measurement_attrs_t scd_temperature_attrs;
	zb_zcl_identify_attrs_t scd_identify_attrs;
#endif
#if !APP_HAS_SCD4X
	zb_zcl_power_config_attr_t power_config_attr;
#endif
} schneggi_device_ctx_t;

static schneggi_device_ctx_t dev_ctx;

ZB_ZCL_DECLARE_BASIC_ATTRIB_LIST_EXT(
	basic_attr_list,
	&dev_ctx.basic_attr.zcl_version,
	&dev_ctx.basic_attr.app_version,
	&dev_ctx.basic_attr.stack_version,
	&dev_ctx.basic_attr.hw_version,
	dev_ctx.basic_attr.mf_name,
	dev_ctx.basic_attr.model_id,
	dev_ctx.basic_attr.date_code,
	&dev_ctx.basic_attr.power_source,
	dev_ctx.basic_attr.location_id,
	&dev_ctx.basic_attr.ph_env,
	&dev_ctx.basic_attr.sw_ver);

ZB_ZCL_DECLARE_IDENTIFY_ATTRIB_LIST(
	identify_attr_list,
	&dev_ctx.identify_attr.identify_time);

ZB_ZCL_DECLARE_TEMP_MEASUREMENT_ATTRIB_LIST(
	temp_measurement_attr_list,
	&dev_ctx.temp_measure_attrs.measure_value,
	&dev_ctx.temp_measure_attrs.min_measure_value,
	&dev_ctx.temp_measure_attrs.max_measure_value,
	&dev_ctx.temp_measure_attrs.tolerance);

ZB_ZCL_DECLARE_REL_HUMIDITY_MEASUREMENT_ATTRIB_LIST(
	humidity_measurement_attr_list,
	&dev_ctx.humidity_measure_attrs.measure_value,
	&dev_ctx.humidity_measure_attrs.min_measure_value,
	&dev_ctx.humidity_measure_attrs.max_measure_value);

#if APP_HAS_SCD4X
ZB_ZCL_DECLARE_TEMP_MEASUREMENT_ATTRIB_LIST(
	scd_temperature_attr_list,
	&dev_ctx.scd_temperature_attrs.measure_value,
	&dev_ctx.scd_temperature_attrs.min_measure_value,
	&dev_ctx.scd_temperature_attrs.max_measure_value,
	&dev_ctx.scd_temperature_attrs.tolerance);

ZB_ZCL_DECLARE_IDENTIFY_ATTRIB_LIST(
	scd_identify_attr_list,
	&dev_ctx.scd_identify_attrs.identify_time);

ZB_ZCL_DECLARE_CONCENTRATION_MEASUREMENT_ATTRIB_LIST(concentration_measurement_attr_list,
													 &dev_ctx.concentration_measure_attrs.measure_value,
													 &dev_ctx.concentration_measure_attrs.min_measure_value,
													 &dev_ctx.concentration_measure_attrs.max_measure_value,
													 &dev_ctx.concentration_measure_attrs.tolerance);
#endif

#if !APP_HAS_SCD4X
/* Define 'bat_num' as empty in order to declare default battery set attributes. */
/* According to Table 3-17 of ZCL specification, defining 'bat_num' as 2 or 3 allows */
/* to declare battery set attributes for BATTERY2 and BATTERY3 */
#define bat_num

ZB_ZCL_DECLARE_POWER_CONFIG_BATTERY_ATTRIB_LIST_EXT(
	power_config_attr_list,
	&dev_ctx.power_config_attr.battery_voltage,
	&dev_ctx.power_config_attr.battery_size,
	&dev_ctx.power_config_attr.battery_quantity,
	&dev_ctx.power_config_attr.battery_rated_voltage,
	&dev_ctx.power_config_attr.battery_alarm_mask,
	&dev_ctx.power_config_attr.battery_voltage_min_threshold,
	&dev_ctx.power_config_attr.battery_percentage_remaining,
	&dev_ctx.power_config_attr.battery_voltage_threshold1,
	&dev_ctx.power_config_attr.battery_voltage_threshold2,
	&dev_ctx.power_config_attr.battery_voltage_threshold3,
	&dev_ctx.power_config_attr.battery_percentage_min_threshold,
	&dev_ctx.power_config_attr.battery_percentage_threshold1,
	&dev_ctx.power_config_attr.battery_percentage_threshold2,
	&dev_ctx.power_config_attr.battery_percentage_threshold3,
	&dev_ctx.power_config_attr.battery_alarm_state);
#endif

#if APP_HAS_SCD4X
#define SCHNEGGI_EXTRA_CLUSTER CONCENTRATION_MEASUREMENT
#define SCHNEGGI_EXTRA_ATTR_LIST concentration_measurement_attr_list
#define SCHNEGGI_EXTRA_REPORT_COUNT ZB_ZCL_CONCENTRATION_MEASUREMENT_REPORT_ATTR_COUNT
#define SCHNEGGI_DEVICE_VERSION 2
#else
#define SCHNEGGI_EXTRA_CLUSTER POWER_CONFIG
#define SCHNEGGI_EXTRA_ATTR_LIST power_config_attr_list
#define SCHNEGGI_EXTRA_REPORT_COUNT ZB_ZCL_POWER_CONFIG_REPORT_ATTR_COUNT
#define SCHNEGGI_DEVICE_VERSION 1
#endif

ZB_DECLARE_SCHNEGGI_CLUSTER_LIST(
	schneggi_clusters,
	basic_attr_list,
	identify_attr_list,
	temp_measurement_attr_list,
	humidity_measurement_attr_list,
	SCHNEGGI_EXTRA_CLUSTER,
	SCHNEGGI_EXTRA_ATTR_LIST);

ZB_DECLARE_SCHNEGGI_EP(
	schneggi_ep, SCHNEGGI_ENDPOINT, schneggi_clusters,
	SCHNEGGI_EXTRA_CLUSTER, SCHNEGGI_EXTRA_REPORT_COUNT, SCHNEGGI_DEVICE_VERSION);

extern zb_af_endpoint_desc_t zigbee_fota_client_ep;
BUILD_ASSERT(SCHNEGGI_ENDPOINT != CONFIG_ZIGBEE_FOTA_ENDPOINT);
#if APP_HAS_SCD4X
BUILD_ASSERT(SCHNEGGI_SCD4X_TEMPERATURE_ENDPOINT != SCHNEGGI_ENDPOINT);
BUILD_ASSERT(SCHNEGGI_SCD4X_TEMPERATURE_ENDPOINT != CONFIG_ZIGBEE_FOTA_ENDPOINT);
ZB_DECLARE_SCHNEGGI_TEMPERATURE_CLUSTER_LIST(
	scd_temperature_clusters, basic_attr_list, scd_identify_attr_list, scd_temperature_attr_list);
ZB_DECLARE_SCHNEGGI_TEMPERATURE_EP(
	scd_temperature_ep, SCHNEGGI_SCD4X_TEMPERATURE_ENDPOINT, scd_temperature_clusters);
ZBOSS_DECLARE_DEVICE_CTX_3_EP(
	device_ctx, zigbee_fota_client_ep, schneggi_ep, scd_temperature_ep);
#else
ZBOSS_DECLARE_DEVICE_CTX_2_EP(
	device_ctx,
	zigbee_fota_client_ep,
	schneggi_ep);
#endif

// ADC
#if !APP_HAS_SCD4X
static const struct adc_dt_spec battery_adc = ADC_DT_SPEC_GET(DT_PATH(vbatt));
#endif

static const struct device *shtc3;
static const struct i2c_dt_spec shtc3_bus =
	I2C_DT_SPEC_GET(DT_COMPAT_GET_ANY_STATUS_OKAY(sensirion_shtcx));

#define LED_NODE DT_ALIAS(led)
static const struct gpio_dt_spec led_spec = GPIO_DT_SPEC_GET(LED_NODE, gpios);
static const struct gpio_dt_spec battery_monitor_enable = GPIO_DT_SPEC_GET(DT_PATH(vbatt), power_gpios);

#if !APP_HAS_SCD4X
static struct app_battery battery = {
	.adc = &battery_adc,
	.enable = &battery_monitor_enable,
};

static bool battery_monitor_ready;
#endif

#if APP_HAS_SCD4X
static const struct device *scd = DEVICE_DT_GET_ANY(sensirion_scd40);
static const struct i2c_dt_spec scd_bus =
	I2C_DT_SPEC_GET(DT_COMPAT_GET_ANY_STATUS_OKAY(sensirion_scd40));
static bool scd_ready;
#endif

LOG_MODULE_REGISTER(app, LOG_LEVEL_DBG);

static struct app_environment environment;
#if APP_HAS_SCD4X
static struct app_environment_report scd_temperature;
#endif

static void init_shtc3_device(void)
{
	// Get a device structure from a devicetree node with compatible "sensirion,shtcx".
	shtc3 = DEVICE_DT_GET_ANY(sensirion_shtcx);

	if (shtc3 == NULL)
	{
		LOG_ERR("Error: No devicetree node found for Sensirion SHTCx.");
		return;
	}

	if (!device_is_ready(shtc3))
	{
		LOG_ERR("Device %s is not ready", shtc3->name);
		return;
	}

	LOG_DBG("Found device %s.", shtc3->name);
}

static void init_scd4x_device(void)
{
#if APP_HAS_SCD4X
	if (scd == NULL || device_is_ready(scd) == false)
	{
		LOG_ERR("Failed to initialize SCD4X device");
	}
	else
	{
		int err = app_scd4x_init(scd, &scd_bus);
		scd_ready = err == 0;
		if (err) {
			LOG_ERR("SCD40 startup failed (%d)", err);
		} else {
			LOG_DBG("Found device %s.", scd->name);
		}
	}
#else
	LOG_INF("SCD4X disabled by devicetree");
#endif
}

static void init_battery_monitor(void)
{
	int err;
	if (!gpio_is_ready_dt(&battery_monitor_enable))
	{
		LOG_ERR("Battery monitor GPIO not ready");
		return;
	}
	err = gpio_pin_configure_dt(&battery_monitor_enable, GPIO_OUTPUT_INACTIVE);
	if (err < 0)
	{
		LOG_ERR("Could not configure battery monitor GPIO (%d)", err);
		return;
	}
#if !APP_HAS_SCD4X
	if (!adc_is_ready_dt(&battery_adc))
	{
		LOG_ERR("Battery ADC not ready");
		return;
	}
	err = adc_channel_setup_dt(&battery_adc);
	if (err < 0)
	{
		LOG_ERR("Could not set up battery ADC (%d)", err);
		return;
	}

	battery_monitor_ready = true;
#endif
}

/**@brief Function for initializing all clusters attributes.
 */
static void init_clusters_attr(void)
{
	/* Basic cluster attributes data */
	dev_ctx.basic_attr.zcl_version = ZB_ZCL_VERSION;
	dev_ctx.basic_attr.power_source = APP_HAS_SCD4X ?
		ZB_ZCL_BASIC_POWER_SOURCE_DC_SOURCE : ZB_ZCL_BASIC_POWER_SOURCE_BATTERY;
	dev_ctx.basic_attr.app_version = 0x01;
	dev_ctx.basic_attr.stack_version = 0x03;
	dev_ctx.basic_attr.hw_version = 0x01;
	ZB_ZCL_SET_STRING_VAL(dev_ctx.basic_attr.sw_ver, CONFIG_MCUBOOT_IMGTOOL_SIGN_VERSION,
		ZB_ZCL_STRING_CONST_SIZE(CONFIG_MCUBOOT_IMGTOOL_SIGN_VERSION));

	ZB_ZCL_SET_STRING_VAL(
		dev_ctx.basic_attr.mf_name,
		SCHNEGGI_BASIC_MANUF_NAME,
		ZB_ZCL_STRING_CONST_SIZE(SCHNEGGI_BASIC_MANUF_NAME));

	ZB_ZCL_SET_STRING_VAL(
		dev_ctx.basic_attr.model_id,
		SCHNEGGI_BASIC_MODEL_ID,
		ZB_ZCL_STRING_CONST_SIZE(SCHNEGGI_BASIC_MODEL_ID));

	ZB_ZCL_SET_STRING_VAL(dev_ctx.basic_attr.date_code, SCHNEGGI_BASIC_DATE_CODE,
						  ZB_ZCL_STRING_CONST_SIZE(SCHNEGGI_BASIC_DATE_CODE));

	/* Identify cluster attributes data */
	dev_ctx.identify_attr.identify_time =
		ZB_ZCL_IDENTIFY_IDENTIFY_TIME_DEFAULT_VALUE;

#if !APP_HAS_SCD4X
	/* Battery power configuration */
	dev_ctx.power_config_attr.battery_voltage = ZB_ZCL_POWER_CONFIG_BATTERY_VOLTAGE_INVALID;
	dev_ctx.power_config_attr.battery_percentage_remaining = ZB_ZCL_POWER_CONFIG_BATTERY_REMAINING_UNKNOWN;
	dev_ctx.power_config_attr.battery_size = ZB_ZCL_POWER_CONFIG_BATTERY_SIZE_DEFAULT_VALUE;
	dev_ctx.power_config_attr.battery_quantity = 1;
#endif

	/* Temperature */
	dev_ctx.temp_measure_attrs.measure_value = ZB_ZCL_ATTR_TEMP_MEASUREMENT_VALUE_UNKNOWN;
	dev_ctx.temp_measure_attrs.min_measure_value = ZB_ZCL_TEMP_MEASUREMENT_MIN_VALUE_DEFAULT_VALUE;
	dev_ctx.temp_measure_attrs.max_measure_value = ZB_ZCL_TEMP_MEASUREMENT_MAX_VALUE_DEFAULT_VALUE;
	dev_ctx.temp_measure_attrs.tolerance = ZB_ZCL_ATTR_TEMP_MEASUREMENT_TOLERANCE_MAX_VALUE;

#if APP_HAS_SCD4X
	/* SCD4x temperature is independent of the SHTC3 ambient reading. */
	dev_ctx.scd_temperature_attrs = dev_ctx.temp_measure_attrs;
	dev_ctx.scd_identify_attrs.identify_time = ZB_ZCL_IDENTIFY_IDENTIFY_TIME_DEFAULT_VALUE;
#endif

	/* Humidity */
	dev_ctx.humidity_measure_attrs.measure_value = ZB_ZCL_ATTR_REL_HUMIDITY_MEASUREMENT_VALUE_UNKNOWN;
	dev_ctx.humidity_measure_attrs.min_measure_value =
		ZB_ZCL_REL_HUMIDITY_MEASUREMENT_MIN_VALUE_DEFAULT_VALUE;
	dev_ctx.humidity_measure_attrs.max_measure_value =
		ZB_ZCL_REL_HUMIDITY_MEASUREMENT_MAX_VALUE_DEFAULT_VALUE;

	/* CO2 */
	dev_ctx.concentration_measure_attrs.measure_value =
		ZB_ZCL_ATTR_CONCENTRATION_MEASUREMENT_VALUE_UNKNOWN;
	dev_ctx.concentration_measure_attrs.min_measure_value =
		ZB_ZCL_CONCENTRATION_MEASUREMENT_MIN_VALUE_DEFAULT_VALUE;
	dev_ctx.concentration_measure_attrs.max_measure_value =
		ZB_ZCL_CONCENTRATION_MEASUREMENT_MAX_VALUE_DEFAULT_VALUE;
	dev_ctx.concentration_measure_attrs.tolerance =
		co2_zcl_single_from_float(co2_zcl_fraction_from_ppm(100.0));
}

static bool identifying;

static void stop_identifying(void)
{
	identifying = false;
	gpio_pin_set_dt(&led_spec, 0);
}

static void toggle_identify_led(zb_uint8_t unused)
{
	ZVUNUSED(unused);
	/* A callback already dequeued when Identify stops must not restart blinking. */
	if (!identifying)
	{
		return;
	}
	gpio_pin_toggle_dt(&led_spec);
	if (app_alarm_replace(toggle_identify_led, 0, 100) != RET_OK)
	{
		LOG_WRN("Unable to schedule Identify blink");
		stop_identifying();
	}
}

static void identify_cb(zb_uint8_t active)
{
#if APP_HAS_SCD4X
	/* Both endpoints identify the same physical device. Ending one endpoint's
	 * timer must not stop the LED while the other is still identifying.
	 */
	active = dev_ctx.identify_attr.identify_time != 0 ||
		 dev_ctx.scd_identify_attrs.identify_time != 0;
#endif
	if (active)
	{
		if (identifying) {
			return;
		}
		LOG_INF("Start identify");
		identifying = true;
		gpio_pin_set_dt(&led_spec, 1);
		if (app_alarm_replace(toggle_identify_led, 0, 100) != RET_OK)
		{
			LOG_WRN("Unable to start Identify blink");
			stop_identifying();
		}
	}
	else
	{
		LOG_INF("Stop identify");
		stop_identifying();
		ZB_SCHEDULE_APP_ALARM_CANCEL(toggle_identify_led, ZB_ALARM_ALL_CB);
	}
}

static void update_sensor_values(uint32_t current_cycle)
{
	if (shtc3 != NULL && device_is_ready(shtc3))
	{
		app_environment_update(&environment, shtc3, &shtc3_bus,
				       SCHNEGGI_ENDPOINT, current_cycle, SENSOR_REFRESH_CYCLES);
	}
	else
	{
		LOG_WRN("SHTC3 device not ready, keeping previous values");
	}

#if APP_HAS_SCD4X
	if (scd_ready) {
		app_scd4x_update(&scd_temperature, scd, SCHNEGGI_ENDPOINT,
				SCHNEGGI_SCD4X_TEMPERATURE_ENDPOINT,
				current_cycle, SENSOR_REFRESH_CYCLES);
	} else {
		LOG_WRN("SCD4X device not ready, keeping previous values");
	}
#endif
}

static uint32_t measurement_cycles = 0;

static void sensor_loop(zb_bufid_t bufid)
{
	ZVUNUSED(bufid);
	uint32_t current_cycle = measurement_cycles++;

#if APP_HAS_SCD4X
	LOG_DBG("-- Loop %" PRIu32 " (%s)--", current_cycle, ZB_JOINED() ? "Connected" : "Disconnected");
#else
	LOG_DBG("-- Loop %" PRIu32 " / %" PRIu32 " (%s)--", current_cycle, BATTERY_SLEEP_CYCLES, ZB_JOINED() ? "Connected" : "Disconnected");
#endif

	if (app_alarm_replace(sensor_loop, 0, SLEEP_INTERVAL_SECONDS * 1000U) != RET_OK)
	{
		LOG_ERR("Unable to schedule sensor measurements; restarting");
		app_reboot();
		return;
	}

	update_sensor_values(current_cycle);

#if !APP_HAS_SCD4X
	if (battery_monitor_ready)
	{
		app_battery_update(&battery, SCHNEGGI_ENDPOINT, current_cycle, BATTERY_SLEEP_CYCLES);
	}
#endif

#if APP_HAS_SCD4X
	LOG_DBG("Next measurement in %" PRIu32 " seconds", SLEEP_INTERVAL_SECONDS);
#else
	LOG_DBG("Sleep for %" PRIu32 " seconds", SLEEP_INTERVAL_SECONDS);
#endif
}

void zboss_signal_handler(zb_uint8_t param)
{
	zb_zdo_app_signal_hdr_t *header = NULL;
	zb_zdo_app_signal_type_t signal = zb_get_app_signal(param, &header);
	zb_ret_t status = ZB_GET_APP_SIGNAL_STATUS(param);
	enum app_zigbee_signal app_signal = APP_ZIGBEE_SIGNAL_OTHER;
	bool parent_link_failure = false;

	switch (signal)
	{
	case ZB_ZDO_SIGNAL_SKIP_STARTUP:
		LOG_DBG("Zigbee stack startup: %d", status);
		app_signal = APP_ZIGBEE_SIGNAL_SKIP_STARTUP;
		break;
	case ZB_BDB_SIGNAL_DEVICE_FIRST_START:
		LOG_DBG("First device startup: %d", status);
		app_signal = APP_ZIGBEE_SIGNAL_DEVICE_FIRST_START;
		break;
	case ZB_BDB_SIGNAL_DEVICE_REBOOT:
	case ZB_BDB_SIGNAL_TC_REJOIN_DONE:
		LOG_INF("Reboot rejoin result: %d", status);
		app_signal = APP_ZIGBEE_SIGNAL_DEVICE_REBOOT;
		break;
	case ZB_BDB_SIGNAL_STEERING:
		LOG_INF("Network steering result: %d", status);
		app_signal = APP_ZIGBEE_SIGNAL_STEERING;
		break;
	case ZB_ZDO_SIGNAL_LEAVE:
		LOG_INF("Network leave result: %d", status);
		app_signal = APP_ZIGBEE_SIGNAL_LEAVE;
		break;
	case ZB_COMMON_SIGNAL_CAN_SLEEP:
		app_signal = APP_ZIGBEE_SIGNAL_CAN_SLEEP;
		break;
	case ZB_ZDO_SIGNAL_PRODUCTION_CONFIG_READY:
		LOG_DBG("Production config result: %d", status);
		break;
	case ZB_NLME_STATUS_INDICATION:
	{
		zb_zdo_signal_nlme_status_indication_params_t *indication =
			ZB_ZDO_SIGNAL_GET_PARAMS(header, zb_zdo_signal_nlme_status_indication_params_t);
		parent_link_failure =
			indication->nlme_status.status == ZB_NWK_COMMAND_STATUS_PARENT_LINK_FAILURE;
		if (parent_link_failure)
		{
			LOG_WRN("Parent link failure");
		}
		app_signal = APP_ZIGBEE_SIGNAL_NLME_STATUS_INDICATION;
		break;
	}
	default:
		LOG_INF("Unhandled signal %d. Status: %d", signal, status);
		break;
	}

	app_network_handle_signal(app_signal, status == RET_OK, parent_link_failure,
				  sensor_loop, !APP_HAS_SCD4X);

	/* R23 add-on 1.4.0 workaround KRKNWK-21014: restore the configured
	 * receiver state after commissioning/rejoin so battery devices can sleep.
	 */
	if (signal == ZB_BDB_SIGNAL_STEERING || signal == ZB_BDB_SIGNAL_TC_REJOIN_DONE ||
	    signal == ZB_BDB_SIGNAL_DEVICE_REBOOT) {
		/* Backend of Nordic's ZB_TRANSCEIVER_SET_RX_ON_OFF workaround. */
		zb_macll_trans_set_rx_on_off(zb_get_rx_on_when_idle());
	}

	/* Process leave/rejoin actions before OTA may reboot to reset its session. */
	app_ota_signal(param);
	if (param)
	{
		zb_buf_free(param);
	}
}

int main(void)
{
	LOG_INF("Schneggi sensor starting...");
	if (app_ota_init() != 0) {
		LOG_ERR("OTA/watchdog initialization failed");
		app_reboot();
		return -1;
	}

	/* Only the non-CO2 profiles enable runtime PM. TWIM takes/releases a
	 * runtime reference for each transfer, including sensor sleep cleanup.
	 */
	if (IS_ENABLED(CONFIG_PM_DEVICE_RUNTIME)) {
		int err = pm_device_runtime_enable(shtc3_bus.bus);
		if (err < 0) {
			LOG_ERR("Could not enable I2C runtime PM (%d)", err);
		}
	}

	init_shtc3_device();

	init_scd4x_device();

	/* Keep the divider disabled even when the USB profile never samples it. */
	init_battery_monitor();

	gpio_pin_configure_dt(&led_spec, GPIO_OUTPUT_INACTIVE);

	/* Power off unused sections of RAM to lower device power consumption. */
	if (IS_ENABLED(CONFIG_RAM_POWER_DOWN_LIBRARY))
	{
		LOG_DBG("Enable power down unused ram");
		power_down_unused_ram();
	}

	LOG_DBG("802.15.4 transmit power: %d dBm", nrf_802154_tx_power_get());
	LOG_DBG("ZB sleep threshold: %d ms", zb_get_sleep_threshold());

	/* The USB-powered CO2 device listens continuously; the battery variant sleeps. */
	app_ota_set_sleepy(!APP_HAS_SCD4X);
	zb_set_rx_on_when_idle(APP_HAS_SCD4X ? ZB_TRUE : ZB_FALSE);
	LOG_INF("Zigbee receiver on while idle: %s", APP_HAS_SCD4X ? "yes" : "no");

	// https://developer.nordicsemi.com/nRF_Connect_SDK/doc/zboss/3.11.2.1/zigbee_prog_principles.html#zigbee_power_optimization_sleepy
	zb_set_ed_timeout(APP_ZIGBEE_ED_TIMEOUT_VALUE);
	zb_set_keepalive_timeout(ZB_MILLISECONDS_TO_BEACON_INTERVAL(APP_ZIGBEE_KEEPALIVE_TIMEOUT_MS));
#if APP_HAS_SCD4X
	LOG_INF("Zigbee power profile: receiver on, keepalive=%u ms ed_timeout=%s",
		 APP_ZIGBEE_KEEPALIVE_TIMEOUT_MS, APP_ZIGBEE_ED_TIMEOUT_DESC);
#else
	LOG_INF("Zigbee power profile: long poll=%u ms keepalive=%u ms ed_timeout=%s",
		 APP_ZIGBEE_LONG_POLL_INTERVAL_MS,
		 APP_ZIGBEE_KEEPALIVE_TIMEOUT_MS,
		 APP_ZIGBEE_ED_TIMEOUT_DESC);
#endif

	ZB_AF_REGISTER_DEVICE_CTX(&device_ctx);

	init_clusters_attr();

	ZB_AF_SET_IDENTIFY_NOTIFICATION_HANDLER(SCHNEGGI_ENDPOINT, identify_cb);
#if APP_HAS_SCD4X
	ZB_AF_SET_IDENTIFY_NOTIFICATION_HANDLER(SCHNEGGI_SCD4X_TEMPERATURE_ENDPOINT, identify_cb);
#endif

	// Erase persistent storage
	zb_set_nvram_erase_at_start(ZB_FALSE);

	app_ota_startup_ready(device_is_ready(shtc3)
#if APP_HAS_SCD4X
		&& scd_ready
#else
		&& battery_monitor_ready && adc_is_ready_dt(&battery_adc)
#endif
	);
	zigbee_enable();

	LOG_INF("Schneggi sensor started");

	k_sleep(K_FOREVER);

	return -1;
}
```

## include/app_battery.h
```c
#ifndef APP_BATTERY_H_
#define APP_BATTERY_H_

#include <stdbool.h>
#include <stdint.h>
#include <zephyr/drivers/adc.h>
#include <zephyr/drivers/gpio.h>

struct app_battery {
	const struct adc_dt_spec *adc;
	const struct gpio_dt_spec *enable;
	bool reported;
	uint32_t reported_cycle;
};

/* Called on the Zigbee thread. Failed samples or attribute writes are retried
 * on the next call; only a complete update starts a new reporting interval.
 */
int app_battery_update(struct app_battery *battery, uint8_t endpoint,
		       uint32_t cycle, uint32_t interval_cycles);

#endif
```

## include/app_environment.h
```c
#ifndef APP_ENVIRONMENT_H_
#define APP_ENVIRONMENT_H_

#include <stdbool.h>
#include <stdint.h>
#include <zephyr/drivers/i2c.h>

struct app_environment_report {
	bool valid;
	int16_t value;
	uint32_t cycle;
};

struct app_environment {
	struct app_environment_report temperature;
	struct app_environment_report humidity;
};

/* Publish temperature from an already fetched sample. Each endpoint needs its
 * own state; this does not fetch again or run SHTC3-specific sleep cleanup.
 */
void app_environment_update_temperature(struct app_environment_report *state,
					const struct device *sensor, uint8_t endpoint,
					uint32_t cycle, uint32_t refresh_cycles);

/* Called on the Zigbee thread with a ready SHTC3 device. */
void app_environment_update(struct app_environment *state,
			    const struct device *sensor, const struct i2c_dt_spec *bus,
			    uint8_t endpoint, uint32_t cycle, uint32_t refresh_cycles);

#endif
```

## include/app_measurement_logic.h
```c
#ifndef APP_MEASUREMENT_LOGIC_H_
#define APP_MEASUREMENT_LOGIC_H_

#include <stdbool.h>
#include <stdint.h>

bool app_report_due_s16(bool valid,
			int16_t previous_value,
			uint32_t previous_cycle,
			int16_t new_value,
			int16_t threshold,
			uint32_t current_cycle,
			uint32_t refresh_cycles);

unsigned int app_battery_level_pptt(unsigned int batt_mv);
int32_t app_battery_millivolts_from_adc(int32_t adc_mv);
uint8_t app_battery_voltage_zcl_attribute(int32_t battery_mv);
uint8_t app_battery_percentage_from_mv(uint32_t battery_mv);
uint8_t app_battery_percentage_zcl_attribute(uint8_t percentage);

#endif /* APP_MEASUREMENT_LOGIC_H_ */
```

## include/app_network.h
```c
#ifndef APP_NETWORK_H_
#define APP_NETWORK_H_

#include <zboss_api.h>
#include "zigbee_signal_logic.h"

/* Apply a decoded signal on the Zigbee thread. sensor_loop is started after
 * joining; sleepy selects whether CAN_SLEEP may put the device to sleep.
 */
void app_network_handle_signal(enum app_zigbee_signal signal, bool status_ok,
			       bool parent_link_failure, zb_callback_t sensor_loop, bool sleepy);

#endif
```

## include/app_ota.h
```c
#ifndef APP_OTA_H
#define APP_OTA_H

#include <stdbool.h>
#include <stdint.h>
#include <zboss_api.h>

int app_ota_init(void);
void app_ota_signal(zb_bufid_t bufid);
void app_ota_set_sleepy(bool sleepy);
void app_ota_set_long_poll(uint32_t interval_ms);
void app_ota_startup_ready(bool peripherals_ready);

#endif
```

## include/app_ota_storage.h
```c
#ifndef APP_OTA_STORAGE_H
#define APP_OTA_STORAGE_H
#include "app_ota_transfer.h"
int app_ota_storage_init(void);
extern const struct ota_storage app_ota_storage;
#endif
```

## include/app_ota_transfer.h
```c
#ifndef APP_OTA_TRANSFER_H
#define APP_OTA_TRANSFER_H

#include <stdbool.h>
#include <stddef.h>
#include <stdint.h>

#define OTA_PAGE_SIZE 4096U
#define OTA_IMAGE_CAPACITY 0x73000U
#define OTA_PREFIX_MAX 96U

struct ota_image_id {
  uint32_t version;
  uint32_t file_size;
  uint16_t manufacturer;
  uint16_t image_type;
};

/* Offsets are relative to the journal or secondary partition. Operations run
 * on the ZBOSS thread and writes obey NOR flash semantics. */
struct ota_storage {
  int (*read)(bool journal, uint32_t offset, void *data, size_t size);
  int (*write)(bool journal, uint32_t offset, const void *data, size_t size);
  int (*erase)(bool journal, uint32_t offset, size_t size);
};

/* Bind storage at startup without changing persisted progress, so a network
 * leave can discard an earlier checkpoint before a new download starts. */
int ota_transfer_init(const struct ota_storage *storage);
int ota_transfer_start(const struct ota_storage *storage, const struct ota_image_id *id);
int ota_transfer_receive(uint32_t offset, const uint8_t *data, size_t size);
uint32_t ota_transfer_offset(void);
int ota_transfer_check(void);
/* Discard on leave, invalid data, or installation; timeout/server abort keeps
 * committed pages. Bytes still in RAM are never resumed. */
int ota_transfer_discard(void);

#endif
```

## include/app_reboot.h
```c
#ifndef APP_REBOOT_H_
#define APP_REBOOT_H_

/* Restore powered-down RAM before handing control to the bootloader. */
void app_reboot(void);

#endif
```

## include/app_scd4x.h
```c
#ifndef APP_SCD4X_H_
#define APP_SCD4X_H_

#include "app_environment.h"
#include <zephyr/drivers/i2c.h>

/* Apply calibration and fetch the first sample after checking data readiness.
 * Returns an error if readiness exceeds ten seconds or an I/O operation fails.
 */
int app_scd4x_init(const struct device *sensor, const struct i2c_dt_spec *bus);

/* Fetch once and publish CO2 and temperature independently on their endpoints.
 * Called on the Zigbee thread with a ready SCD4x device.
 */
void app_scd4x_update(struct app_environment_report *temperature,
		     const struct device *sensor, uint8_t co2_endpoint,
		     uint8_t temperature_endpoint, uint32_t cycle,
		     uint32_t refresh_cycles);

#endif
```

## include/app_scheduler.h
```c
#ifndef APP_SCHEDULER_H_
#define APP_SCHEDULER_H_

#include <stdint.h>
#include <zboss_api.h>

/* On the Zigbee thread, replace all alarms for callback with one new alarm.
 * Delays are milliseconds, including sampling intervals longer than 71 minutes.
 * The caller must handle an error: no replacement was scheduled.
 */
zb_ret_t app_alarm_replace(zb_callback_t callback, zb_uint8_t param, uint32_t delay_ms);

#endif
```

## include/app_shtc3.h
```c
#ifndef APP_SHTC3_H_
#define APP_SHTC3_H_

#include <zephyr/drivers/i2c.h>

/* The SDK's SHTCx driver omits sleep on failed fetches. Preserve the fetch
 * error while attempting bounded, best-effort SHTC3 sleep cleanup.
 */
int app_shtc3_sample_fetch(const struct device *dev,
			  const struct i2c_dt_spec *bus);

#endif
```

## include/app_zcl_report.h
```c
#ifndef APP_ZCL_REPORT_H_
#define APP_ZCL_REPORT_H_

#include <stdint.h>
#include <stdbool.h>

#include <zboss_api.h>

zb_zcl_status_t app_zcl_report_temperature(zb_uint8_t endpoint, int16_t centi_c);
zb_zcl_status_t app_zcl_report_humidity(zb_uint8_t endpoint, int16_t centi_percent);
zb_zcl_status_t app_zcl_report_co2_fraction(zb_uint8_t endpoint, float fraction);
zb_zcl_status_t app_zcl_report_battery_voltage(zb_uint8_t endpoint, uint8_t voltage_attribute);
zb_zcl_status_t app_zcl_report_battery_percentage(zb_uint8_t endpoint, uint8_t percentage_attribute);
bool app_zcl_custom_s16_reporting_active(zb_uint8_t endpoint,
					 zb_uint16_t cluster_id,
					 zb_uint16_t attr_id);

#endif /* APP_ZCL_REPORT_H_ */
```
